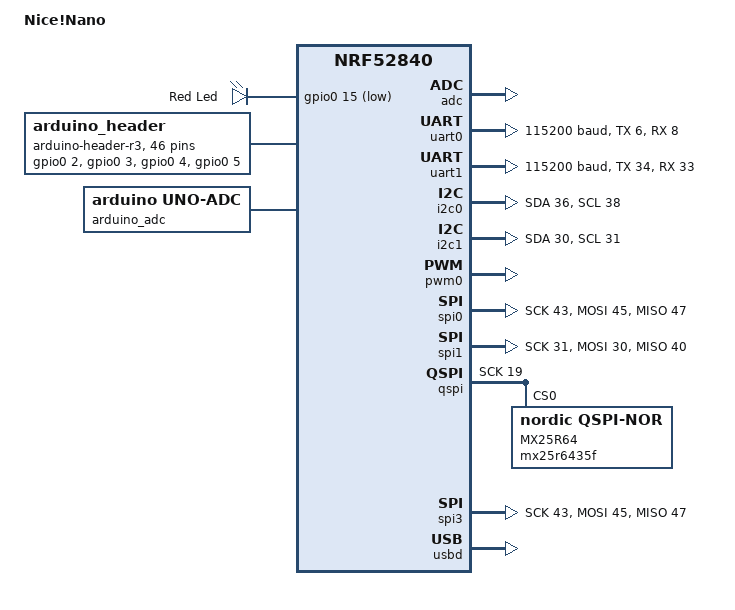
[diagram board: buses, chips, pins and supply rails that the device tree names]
/*
 * Copyright (c) 2017 Linaro Limited
 *
 * SPDX-License-Identifier: Apache-2.0
 */

/dts-v1/;
#include <nordic/nrf52840_qiaa.dtsi>

/ {
	model = "Nice!Nano";
	compatible = "nordic,adafruit,nicenano";

	chosen {
		zephyr,console = &uart0;
		zephyr,shell-uart = &uart0;
		zephyr,uart-mcumgr = &uart0;
		zephyr,bt-mon-uart = &uart0;
		zephyr,bt-c2h-uart = &uart0;
		zephyr,sram = &sram0;
		zephyr,flash = &flash0;
		zephyr,code-partition = &slot0_partition;
	};

leds {
	compatible = "gpio-leds";
	led0: led_0 {
		gpios = <&gpio0 15 GPIO_ACTIVE_LOW>;
		label = "Red Led";
	};
};

	arduino_header: connector {
		compatible = "arduino-header-r3";
		#gpio-cells = <2>;
		gpio-map-mask = <0xffffffff 0xffffffc0>;
		gpio-map-pass-thru = <0 0x3f>;
		gpio-map = 	<2 0 &gpio0 2 0>,   /* PIN_002 — P0.02 */
				<3 0 &gpio0 3 0>,   /* PIN_003 — P0.03 */
				<4 0 &gpio0 4 0>,   /* PIN_004 — P0.04 */
				<5 0 &gpio0 5 0>,   /* PIN_005 — P0.05 */
				<6 0 &gpio0 6 0>,   /* PIN_SERIAL1_TX + PIN_006 — P0.06 */
				<7 0 &gpio0 7 0>,   /* PIN_007 — P0.07 */
				<8 0 &gpio0 8 0>,   /* PIN_SERIAL1_RX + PIN_008 — P0.08 */
				<9 0 &gpio0 9 0>,   /* PIN_009 — P0.09 */
				<10 0 &gpio0 10 0>, /* PIN_010 — P0.10 */
				<11 0 &gpio0 11 0>, /* PIN_011 — P0.11 */
				<12 0 &gpio0 12 0>, /* PIN_012 — P0.12 */
				<13 0 &gpio0 13 0>, /* PIN_013 — P0.13 */
				<14 0 &gpio0 14 0>, /* PIN_014 — P0.14 */
				<15 0 &gpio0 15 0>, /* PIN_015 — P0.15 */
				<16 0 &gpio0 16 0>, /* PIN_016 — P0.16 */
				<17 0 &gpio0 17 0>, /* PIN_017 — P0.17 */
				<18 0 &gpio0 18 0>, /* PIN_018 — P0.18 */
				<19 0 &gpio0 19 0>, /* PIN_019 — P0.19 */
				<20 0 &gpio0 20 0>, /* PIN_020 — P0.20 */
				<21 0 &gpio0 21 0>, /* PIN_021 — P0.21 */
				<22 0 &gpio0 22 0>, /* PIN_022 — P0.22 */
				<23 0 &gpio0 23 0>, /* PIN_023 — P0.23 */
				<24 0 &gpio0 24 0>, /* PIN_024 — P0.24 */
				<25 0 &gpio0 25 0>, /* PIN_025 — P0.25 */
				<26 0 &gpio0 26 0>, /* PIN_026 — P0.26 */
				<27 0 &gpio0 27 0>, /* PIN_027 — P0.27 */
				<28 0 &gpio0 28 0>, /* PIN_028 — P0.28 */
				<29 0 &gpio0 29 0>, /* PIN_029 — P0.29 */
				<30 0 &gpio0 30 0>, /* PIN_030 — P0.30 */
				<31 0 &gpio0 31 0>, /* PIN_031 — P0.31 */
				<32 0 &gpio1 0 0>,  /* PIN_100 — P1.00 */
				<33 0 &gpio1 1 0>,  /* PIN_101 — P1.01 */
				<34 0 &gpio1 2 0>,  /* PIN_102 — P1.02 */
				<35 0 &gpio1 3 0>,  /* PIN_103 — P1.03 */
				<36 0 &gpio1 4 0>,  /* PIN_104 — P1.04 (SDA) */
				<37 0 &gpio1 5 0>,  /* PIN_105 — P1.05 */
				<38 0 &gpio1 6 0>,  /* PIN_106 — P1.06 (SCL) */
				<39 0 &gpio1 7 0>,  /* PIN_107 — P1.07 (SS) */
				<40 0 &gpio1 8 0>,  /* PIN_108 — P1.08 */
				<41 0 &gpio1 9 0>,  /* PIN_109 — P1.09 */
				<42 0 &gpio1 10 0>, /* PIN_110 — P1.10 */
				<43 0 &gpio1 11 0>, /* PIN_111 — P1.11 (SCK) */
				<44 0 &gpio1 12 0>, /* PIN_112 — P1.12 */
				<45 0 &gpio1 13 0>, /* PIN_113 — P1.13 (MOSI) */
				<46 0 &gpio1 14 0>, /* PIN_114 — P1.14 */
				<47 0 &gpio1 15 0>; /* PIN_115 — P1.15 (MISO) */
	};

	arduino_adc: analog-connector {
		compatible = "arduino,uno-adc";
		#io-channel-cells = <1>;
		io-channel-map = <0 &adc 1>,	/* A0 = P0.3 = AIN1 */
				 <1 &adc 2>,	/* A1 = P0.4 = AIN2 */
				 <2 &adc 4>,	/* A2 = P0.28 = AIN4 */
				 <3 &adc 5>,	/* A3 = P0.29 = AIN5 */
				 <4 &adc 6>,	/* A4 = P0.30 = AIN6 */
				 <5 &adc 7>;	/* A5 = P0.31 = AIN7 */
	};

	/* These aliases are provided for compatibility with samples */
	aliases {
		led0 = &led0;
		bootloader-led0 = &led0;
	};
};

&adc {
	status = "okay";
};

&gpiote {
	status = "okay";
};

&gpio0 {
	status = "okay";
};

&gpio1 {
	status = "okay";
};

&uart0 {
	compatible = "nordic,nrf-uarte";
	status = "okay";
	current-speed = <115200>;
	tx-pin = <6>;
	rx-pin = <8>;
	rx-pull-up;
	rts-pin = <5>;
	cts-pin = <7>;
	cts-pull-up;
};

arduino_serial: &uart1 {
	status = "okay";
	current-speed = <115200>;
	rx-pin = <33>;
	rx-pull-up;
	tx-pin = <34>;
};

arduino_i2c: &i2c0 {
	compatible = "nordic,nrf-twi";
	status = "okay";
	sda-pin = <36>;
	scl-pin = <38>;
};

&i2c1 {
	compatible = "nordic,nrf-twi";
	/* Cannot be used together with spi1. */
	/* status = "okay"; */
	sda-pin = <30>;
	scl-pin = <31>;
};

&pwm0 {
	status = "okay";
	ch0-pin = <13>;
	ch0-inverted;
};

&spi0 {
	compatible = "nordic,nrf-spi";
	/* Cannot be used together with i2c0. */
	/* status = "okay"; */
	sck-pin = <43>;
	mosi-pin = <45>;
	miso-pin = <47>;
};

&spi1 {
	compatible = "nordic,nrf-spi";
	status = "okay";
	sck-pin = <31>;
	mosi-pin = <30>;
	miso-pin = <40>;
};

&spi2 {
	compatible = "nordic,nrf-spi";
	status = "disabled";
	sck-pin = <19>;
	mosi-pin = <20>;
	miso-pin = <21>;
};

&qspi {
	status = "okay";
	sck-pin = <19>;
	io-pins = <20>, <21>, <22>, <23>;
	csn-pins = <17>;
	mx25r64: mx25r6435f@0 {
		compatible = "nordic,qspi-nor";
		reg = <0>;
		/* MX25R64 supports only pp and pp4io */
		writeoc = "pp4io";
		/* MX25R64 supports all readoc options */
		readoc = "read4io";
		sck-frequency = <8000000>;
		label = "MX25R64";
		jedec-id = [c2 28 17];
		sfdp-bfp = [
			e5 20 f1 ff  ff ff ff 03  44 eb 08 6b  08 3b 04 bb
			ee ff ff ff  ff ff 00 ff  ff ff 00 ff  0c 20 0f 52
			10 d8 00 ff  23 72 f5 00  82 ed 04 cc  44 83 68 44
			30 b0 30 b0  f7 c4 d5 5c  00 be 29 ff  f0 d0 ff ff
		];
		size = <67108864>;
		has-dpd;
		t-enter-dpd = <10000>;
		t-exit-dpd = <35000>;
	};
};

arduino_spi: &spi3 {
	status = "okay";
	sck-pin = <43>;
	miso-pin = <47>;
	mosi-pin = <45>;
	cs-gpios = <&gpio1 7 GPIO_ACTIVE_LOW>; /* Pin 39 = P1.07 = SS */
};

&flash0 {

	partitions {
		compatible = "fixed-partitions";
		#address-cells = <1>;
		#size-cells = <1>;

		boot_partition: partition@0 {
			label = "mcuboot";
			reg = <0x000000000 0x0000C000>;
		};
		slot0_partition: partition@c000 {
			label = "image-0";
			reg = <0x0000C000 0x00067000>;
		};
		slot1_partition: partition@73000 {
			label = "image-1";
			reg = <0x00073000 0x00067000>;
		};
		scratch_partition: partition@da000 {
			label = "image-scratch";
			reg = <0x000da000 0x0001e000>;
		};

		/*
		 * The flash starting at 0x000f8000 and ending at
		 * 0x000fffff is reserved for use by the application.
		 */

		/*
		 * Storage partition will be used by FCB/LittleFS/NVS
		 * if enabled.
		 */
		storage_partition: partition@f8000 {
			label = "storage";
			reg = <0x000f8000 0x00008000>;
		};
	};
};

zephyr_udc0: &usbd {
	compatible = "nordic,nrf-usbd";
	status = "okay";
};
